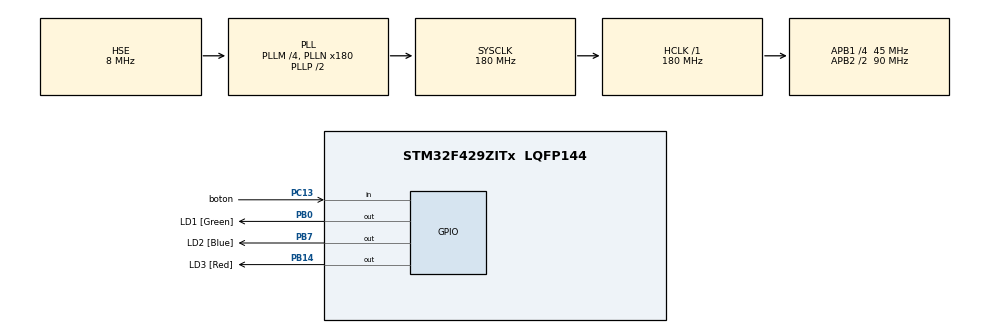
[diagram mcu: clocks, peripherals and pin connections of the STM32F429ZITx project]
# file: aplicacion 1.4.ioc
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Mcu.Family=STM32F4
Mcu.Name=STM32F429ZITx
Mcu.Package=LQFP144
NVIC.PriorityGroup=NVIC_PRIORITYGROUP_4
PB0.GPIO_Label=LD1 [Green]
PB0.Signal=GPIO_Output
PB14.GPIO_Label=LD3 [Red]
PB14.Signal=GPIO_Output
PB7.GPIO_Label=LD2 [Blue]
PB7.Signal=GPIO_Output
PC13.GPIO_Label=boton
PC13.Signal=GPIO_Input
PH0/OSC_IN.GPIO_Label=MCO [STM32F103CBT6_PA8]
PH0/OSC_IN.Mode=HSE-External-Oscillator
PH0/OSC_IN.Signal=RCC_OSC_IN
PH1/OSC_OUT.Mode=HSE-External-Oscillator
PH1/OSC_OUT.Signal=RCC_OSC_OUT
ProjectManager.HeapSize=0x200
ProjectManager.StackSize=0x400
ProjectManager.TargetToolchain=STM32CubeIDE
RCC.48MHZClocksFreq_Value=51428571.428571425
RCC.AHBFreq_Value=180000000
RCC.APB1CLKDivider=RCC_HCLK_DIV4
RCC.APB1Freq_Value=45000000
RCC.APB1TimFreq_Value=90000000
RCC.APB2CLKDivider=RCC_HCLK_DIV2
RCC.APB2Freq_Value=90000000
RCC.APB2TimFreq_Value=180000000
RCC.CortexFreq_Value=180000000
RCC.HCLKFreq_Value=180000000
RCC.HSE_VALUE=8000000
RCC.HSI_VALUE=16000000
RCC.PLLM=4
RCC.PLLMUL=RCC_PLL_MUL9
RCC.PLLN=180
RCC.PLLQ=7
RCC.PLLSourceVirtual=RCC_PLLSOURCE_HSE
RCC.PRESCALERUSB=RCC_USBCLKSOURCE_PLL_DIV1_5
RCC.SYSCLKFreq_VALUE=180000000
RCC.SYSCLKSource=RCC_SYSCLKSOURCE_PLLCLK
RCC.SYSCLKSourceVirtual=RCC_SYSCLKSOURCE_PLLCLK
RCC.USBFreq_Value=48000000
RCC.VCOOutputFreq_Value=360000000
board=NUCLEO-F429ZI

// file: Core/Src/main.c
/* USER CODE BEGIN Header */
/**
  ******************************************************************************
  * @file           : main.c
  * @brief          : Main program body
  ******************************************************************************
  * @attention
  *
  * Copyright (c) 2026 STMicroelectronics.
  * All rights reserved.
  *
  * This software is licensed under terms that can be found in the LICENSE file
  * in the root directory of this software component.
  * If no LICENSE file comes with this software, it is provided AS-IS.
  *
  ******************************************************************************
  */
/* USER CODE END Header */
#include "main.h"

/* USER CODE BEGIN PV */
uint8_t secuencia = 0;
/* USER CODE END PV */

void SystemClock_Config(void);
static void MX_GPIO_Init(void);

int main(void)
{

  /* MCU Configuration--------------------------------------------------------*/

  /* Reset of all peripherals, Initializes the Flash interface and the Systick. */
  HAL_Init();

  /* Configure the system clock */
  SystemClock_Config();

  /* Initialize all configured peripherals */
  MX_GPIO_Init();

  /* Infinite loop */
  while (1)
  {

    /* USER CODE BEGIN 3 */
	  if(HAL_GPIO_ReadPin(boton_GPIO_Port, boton_Pin)==GPIO_PIN_SET){
		  secuencia = secuencia + 1;
	  }
	  if(secuencia > 3){
		  secuencia = 0;
	  }
	  switch(secuencia){
	  case 0:
		  HAL_GPIO_TogglePin(LD1_GPIO_Port, LD1_Pin);
		  HAL_GPIO_TogglePin(LD2_GPIO_Port, LD2_Pin);
		  HAL_GPIO_TogglePin(LD3_GPIO_Port, LD3_Pin);
		  HAL_Delay(100);
		  break;
	  case 1:
	  		  HAL_GPIO_TogglePin(LD1_GPIO_Port, LD1_Pin);
	  		  HAL_GPIO_TogglePin(LD2_GPIO_Port, LD2_Pin);
	  		  HAL_GPIO_TogglePin(LD3_GPIO_Port, LD3_Pin);
	  		  HAL_Delay(250);
	  		  break;
	  case 2:
	  		  HAL_GPIO_TogglePin(LD1_GPIO_Port, LD1_Pin);
	  		  HAL_GPIO_TogglePin(LD2_GPIO_Port, LD2_Pin);
	  		  HAL_GPIO_TogglePin(LD3_GPIO_Port, LD3_Pin);
	  		  HAL_Delay(500);
	  		  break;
	  case 3:
	  		  HAL_GPIO_TogglePin(LD1_GPIO_Port, LD1_Pin);
	  		  HAL_GPIO_TogglePin(LD2_GPIO_Port, LD2_Pin);
	  		  HAL_GPIO_TogglePin(LD3_GPIO_Port, LD3_Pin);
	  		  HAL_Delay(1000);
	  		  break;
	  }
  }
  /* USER CODE END 3 */
}

void SystemClock_Config(void)
{
  RCC_OscInitTypeDef RCC_OscInitStruct = {0};
  RCC_ClkInitTypeDef RCC_ClkInitStruct = {0};

  /** Configure the main internal regulator output voltage
  */
  __HAL_RCC_PWR_CLK_ENABLE();
  __HAL_PWR_VOLTAGESCALING_CONFIG(PWR_REGULATOR_VOLTAGE_SCALE1);

  /** Initializes the RCC Oscillators according to the specified parameters
  * in the RCC_OscInitTypeDef structure.
  */
  RCC_OscInitStruct.OscillatorType = RCC_OSCILLATORTYPE_HSE;
  RCC_OscInitStruct.HSEState = RCC_HSE_ON;
  RCC_OscInitStruct.PLL.PLLState = RCC_PLL_ON;
  RCC_OscInitStruct.PLL.PLLSource = RCC_PLLSOURCE_HSE;
  RCC_OscInitStruct.PLL.PLLM = 4;
  RCC_OscInitStruct.PLL.PLLN = 180;
  RCC_OscInitStruct.PLL.PLLP = RCC_PLLP_DIV2;
  RCC_OscInitStruct.PLL.PLLQ = 7;
  if (HAL_RCC_OscConfig(&RCC_OscInitStruct) != HAL_OK)
  {
    Error_Handler();
  }

  /** Activate the Over-Drive mode
  */
  if (HAL_PWREx_EnableOverDrive() != HAL_OK)
  {
    Error_Handler();
  }

  /** Initializes the CPU, AHB and APB buses clocks
  */
  RCC_ClkInitStruct.ClockType = RCC_CLOCKTYPE_HCLK|RCC_CLOCKTYPE_SYSCLK
                              |RCC_CLOCKTYPE_PCLK1|RCC_CLOCKTYPE_PCLK2;
  RCC_ClkInitStruct.SYSCLKSource = RCC_SYSCLKSOURCE_PLLCLK;
  RCC_ClkInitStruct.AHBCLKDivider = RCC_SYSCLK_DIV1;
  RCC_ClkInitStruct.APB1CLKDivider = RCC_HCLK_DIV4;
  RCC_ClkInitStruct.APB2CLKDivider = RCC_HCLK_DIV2;

  if (HAL_RCC_ClockConfig(&RCC_ClkInitStruct, FLASH_LATENCY_5) != HAL_OK)
  {
    Error_Handler();
  }
}

static void MX_GPIO_Init(void)
{
  GPIO_InitTypeDef GPIO_InitStruct = {0};

  /* GPIO Ports Clock Enable */
  __HAL_RCC_GPIOC_CLK_ENABLE();
  __HAL_RCC_GPIOH_CLK_ENABLE();
  __HAL_RCC_GPIOB_CLK_ENABLE();

  /*Configure GPIO pin Output Level */
  HAL_GPIO_WritePin(GPIOB, LD1_Pin|LD3_Pin|LD2_Pin, GPIO_PIN_RESET);

  /*Configure GPIO pin : boton_Pin */
  GPIO_InitStruct.Pin = boton_Pin;
  GPIO_InitStruct.Mode = GPIO_MODE_INPUT;
  GPIO_InitStruct.Pull = GPIO_NOPULL;
  HAL_GPIO_Init(boton_GPIO_Port, &GPIO_InitStruct);

  /*Configure GPIO pins : LD1_Pin LD3_Pin LD2_Pin */
  GPIO_InitStruct.Pin = LD1_Pin|LD3_Pin|LD2_Pin;
  GPIO_InitStruct.Mode = GPIO_MODE_OUTPUT_PP;
  GPIO_InitStruct.Pull = GPIO_NOPULL;
  GPIO_InitStruct.Speed = GPIO_SPEED_FREQ_LOW;
  HAL_GPIO_Init(GPIOB, &GPIO_InitStruct);

}

void Error_Handler(void)
{
  __disable_irq();
  while (1)
  {
  }
}
